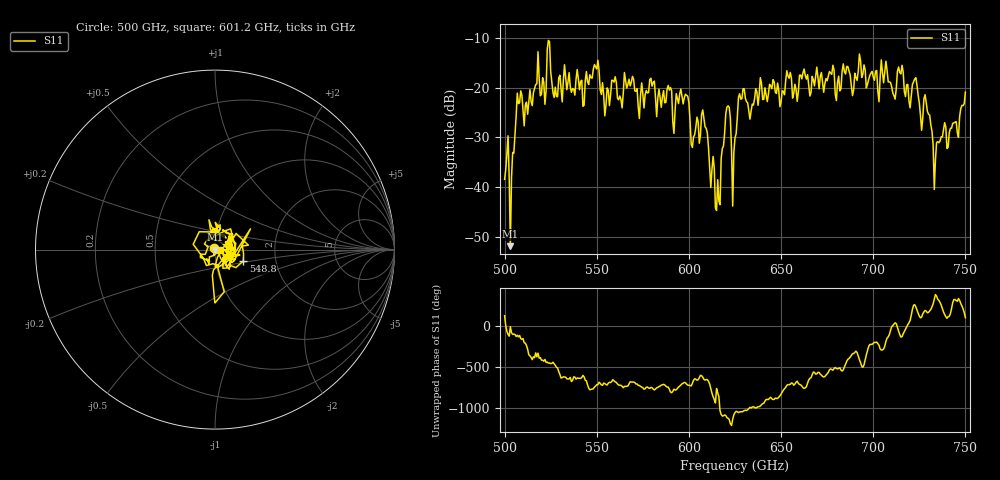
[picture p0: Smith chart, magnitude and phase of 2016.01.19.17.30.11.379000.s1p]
!Created with skrf (http://scikit-rf.org).
# GHz S RI R 50.0
!freq ReS11 ImS11
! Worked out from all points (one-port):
!   401 points, 500 GHz to 750 GHz, reference 50 ohm
!   lowest |S11| = -51.8 dB at 503.1 GHz (marker M1), VSWR 1.01, Z = 50.3 - j0.0383 ohm
!   |S11| at or under -10 dB: start of sweep to end of sweep
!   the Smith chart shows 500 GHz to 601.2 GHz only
!   S11 on the Smith chart (normalised r, x): 500 GHz: 0.99, +0.02; 548.8 GHz: 1.36, -0.18; 601.2 GHz: 1.06, -0.01
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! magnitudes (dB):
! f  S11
! 500 GHz  -38.4
! 503.1 GHz  -51.8
! 508.1 GHz  -23.1
! 521.2 GHz  -18.9
! 524.4 GHz  -10.8
! 527.5 GHz  -19.9
! 531.2 GHz  -22.9
! 541.9 GHz  -18.5
! 548.8 GHz  -15.4
! 562.5 GHz  -21.7
! 568.8 GHz  -19.0
! 593.8 GHz  -22.2
! 598.8 GHz  -21.6
! 601.2 GHz  -31.4
! 608.1 GHz  -26.1
! 615.6 GHz  -38.5
! 620.6 GHz  -23.9
! 625 GHz  -30.1
! 628.8 GHz  -22.2
! 656.2 GHz  -22.1
! 687.5 GHz  -17.4
! 705.6 GHz  -19.0
! 711.2 GHz  -21.6
! 715 GHz  -17.3
! 718.8 GHz  -19.4
! 728.8 GHz  -23.0
! 733.8 GHz  -34.5
! 750 GHz  -20.9
